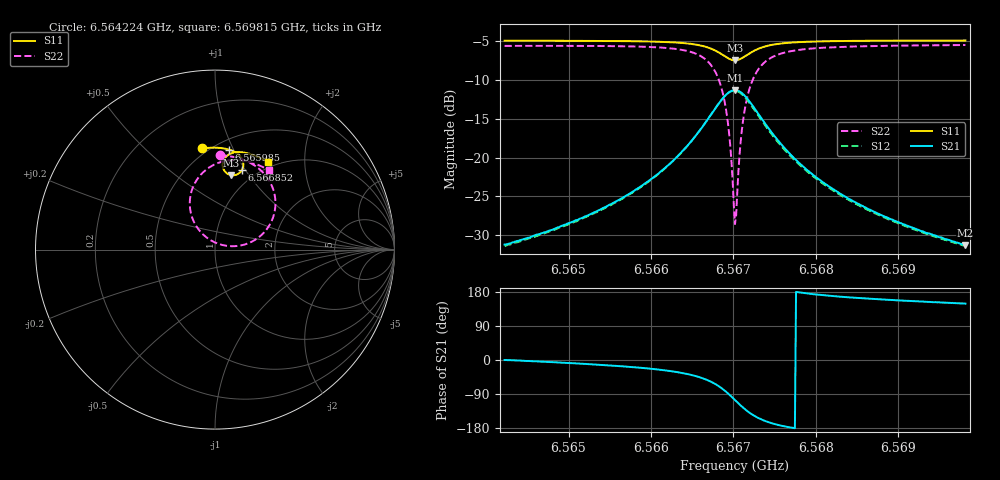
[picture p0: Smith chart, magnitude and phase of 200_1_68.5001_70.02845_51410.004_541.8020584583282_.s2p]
#  HZ  S  RI  R  50.00
! Rohde & Schwarz Vector Network Analyzer
! Rohde-Schwarz,ZNB20-2Port,1311601062101988,3.16
! Created: UTC 3/20/2024, 4:57:34 PM
! freq[Hz]  re:S11  im:S11  re:S21  im:S21  re:S12  im:S12  re:S22  im:S22
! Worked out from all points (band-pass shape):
!   401 points, 6.564224 GHz to 6.569815 GHz, reference 50 ohm
!   highest |S21| = -11.29 dB at 6.56702 GHz (marker M1); lowest = -31.3 dB at 6.569815 GHz (marker M2)
!   |S21| within 3 dB of the highest: 6.566739 GHz to 6.567299 GHz (560.1 kHz wide, 0.00853 % of centre)
!   lowest |S11| = -7.4 dB at 6.56702 GHz (marker M3), VSWR 2.47, Z = 40.8 + j41.3 ohm
!   |S11| at or under -10 dB: nowhere
!   |S22| runs from -28.6 to -5.5 dB; largest |S21 - S12| = 0.013
!   S11 on the Smith chart (normalised r, x): 6.564224 GHz: 0.46, +0.77; 6.565985 GHz: 0.59, +0.96; 6.566852 GHz: 0.85, +0.96; 6.569815 GHz: 0.92, +1.33
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6.5642242e9  -0.0727 0.5645  0.0274 -5.1e-05  0.0267 -0.000383  0.0272 0.5259
6.5651606e9  0.00347 0.568  0.04 -0.00701  0.0395 -0.0076  0.1147 0.514
6.5659853e9  0.0792 0.5567  0.0658 -0.0277  0.0649 -0.0285  0.2181 0.4703
6.5660971e9  0.0908 0.5527  0.0715 -0.0341  0.0706 -0.0349  0.2364 0.4572
6.5664046e9  0.1257 0.5341  0.0923 -0.0655  0.0908 -0.0668  0.295 0.3949
6.5666282e9  0.1511 0.5037  0.1058 -0.1186  0.1034 -0.1209  0.3343 0.2925
6.566754e9  0.158 0.4732  0.0986 -0.1718  0.0942 -0.175  0.3271 0.1909
6.5668519e9  0.1496 0.4426  0.0665 -0.2245  0.059 -0.2273  0.27 0.0922
6.5668938e9  0.1395 0.4298  0.0409 -0.2455  0.0317 -0.2473  0.223 0.0542
6.5669357e9  0.125 0.4197  0.00726 -0.261  -0.00338 -0.2611  0.162 0.0274
6.5669637e9  0.1132 0.4156  -0.0187 -0.2667  -0.0299 -0.2649  0.115 0.0193
6.5670056e9  0.094 0.4143  -0.06 -0.2654  -0.0714 -0.2606  0.0415 0.0255
6.5670196e9  0.0874 0.4153  -0.0737 -0.2623  -0.0848 -0.2565  0.0177 0.0326
6.5670475e9  0.0752 0.4197  -0.0999 -0.2519  -0.1099 -0.2443  -0.0268 0.0538
6.5670895e9  0.0595 0.4306  -0.133 -0.2283  -0.1408 -0.2185  -0.0813 0.0997
6.5671314e9  0.0488 0.4453  -0.1568 -0.1985  -0.1618 -0.1878  -0.1177 0.155
6.5671873e9  0.0428 0.4663  -0.1732 -0.1568  -0.1751 -0.1463  -0.139 0.2297
6.5672572e9  0.0449 0.4898  -0.1755 -0.1109  -0.1747 -0.1018  -0.1348 0.3099
6.5675088e9  0.0832 0.533  -0.1331 -0.0247  -0.1302 -0.0209  -0.038 0.4538
6.567956e9  0.1438 0.5427  -0.0777 0.00816  -0.0758 0.00946  0.0901 0.4985
6.5688925e9  0.2296 0.5211  -0.0376 0.0145  -0.0367 0.015  0.2198 0.4796
6.569815e9  0.297 0.4876  -0.0232 0.0141  -0.0227 0.0141  0.2989 0.442
